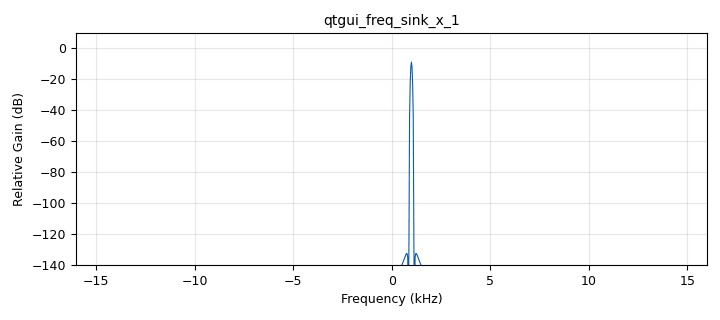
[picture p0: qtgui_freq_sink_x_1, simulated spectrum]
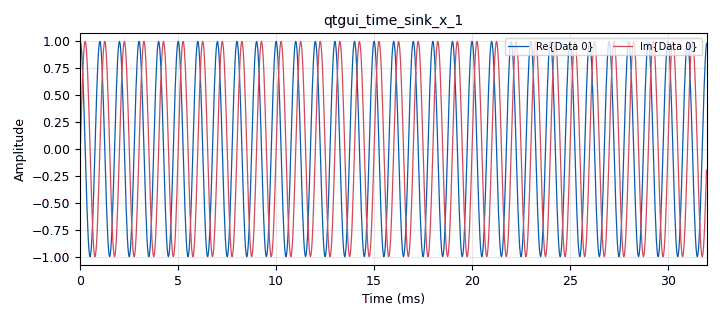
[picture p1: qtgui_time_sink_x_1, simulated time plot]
options:
  parameters:
    generate_options: qt_gui
    id: sineWaveFlowgraph
    output_language: python
    title: Practica 0
  states: {}

blocks:
- name: samp_rate
  id: variable
  parameters:
    value: '32000'
  states: {}
- name: analog_sig_source_x_1
  id: analog_sig_source_x
  parameters:
    amp: '1'
    freq: '1000'
    offset: '0'
    phase: '0'
    samp_rate: samp_rate
    type: complex
    waveform: analog.GR_COS_WAVE
  states: {}
- name: blocks_throttle2_1
  id: blocks_throttle2
  parameters:
    samples_per_second: samp_rate
    type: complex
  states: {}
- name: qtgui_freq_sink_x_1
  id: qtgui_freq_sink_x
  parameters:
    bw: samp_rate
    fc: '0'
    fftsize: '1024'
    type: complex
  states: {}
- name: qtgui_time_sink_x_1
  id: qtgui_time_sink_x
  parameters:
    size: '1024'
    srate: samp_rate
    type: complex
  states: {}

connections:
- [analog_sig_source_x_1, '0', blocks_throttle2_1, '0']
- [blocks_throttle2_1, '0', qtgui_freq_sink_x_1, '0']
- [blocks_throttle2_1, '0', qtgui_time_sink_x_1, '0']

metadata:
  file_format: 1
  grc_version: v3.10.11.0-89-ga17f69e7
